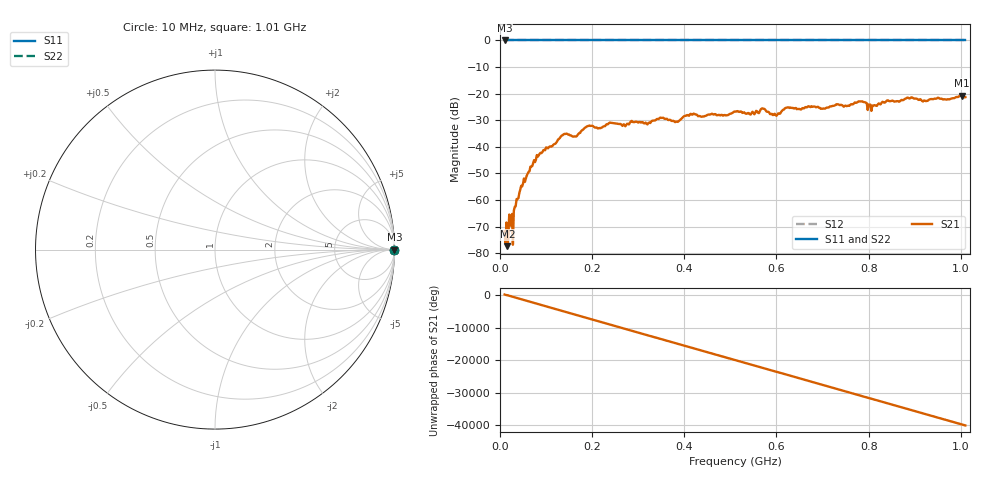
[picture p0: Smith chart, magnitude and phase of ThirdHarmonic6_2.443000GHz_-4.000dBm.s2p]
! 8/17/2025 4:18:38 AM
! C:\ANRITSUVNA\TEMP\TEMP.S2P
! CHANNEL.1
! TR.MEASUREMENT
! RAW.DATA
! RF.CORRECTION.OFF
! AVERAGING.OFF
! IF.BANDWIDTH: 5KHZ
! SWEEPTYPE:  FREQ.SWEEP(Linear)
! Reference Plane Port Info
! PORT:  PORT1  PORT2
! DISTANCE:  0  m  0  m
! TIME:  0  s  0  s
! PHASE.OFFSET:  0  deg.  0  deg.
! LOSS:  0  dB  0  dB
! REF.LOSS:  0  dB  0  dB
! REF.FREQ:  0  Hz  0  Hz
! Power Info
! POWER:  -20  dBm  -20  dBm
! EFF.POWER:  -20  dBm  -20  dBm
! SOURCE.ATTEN:  0  dB  0  dB
! TEST.ATTEN:  0  dB  0  dB
# GHZ S RI R 50.0
! FREQ.GHZ  S11RE  S11IM  S21RE  S21IM  S12RE  S12IM  S22RE  S22IM
!; PortSelection: Port_12
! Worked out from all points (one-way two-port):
!   501 points, 10 MHz to 1.01 GHz, reference 50 ohm
!   highest |S21| = -20.70 dB at 1.002 GHz (marker M1); lowest = -77.3 dB at 16 MHz (marker M2)
!   lowest |S11| = 0.0 dB at 10 MHz (marker M3)
!   |S11| at or under -10 dB: nowhere
!   |S22| runs from 0.0 to 0.0 dB; largest |S21 - S12| = 1.1
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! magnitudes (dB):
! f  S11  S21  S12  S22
! 10 MHz  0.0  -71.8  0.0  0.0
! 16 MHz  0.0  -77.3  0.0  0.0
! 28 MHz  0.0  -76.8  0.0  0.0
! 34 MHz  0.0  -62.3  0.0  0.0
! 48 MHz  0.0  -54.9  0.0  0.0
! 84 MHz  0.0  -43.3  0.0  0.0
! 136 MHz  0.0  -35.6  0.0  0.0
! 162 MHz  0.0  -36.0  0.0  0.0
! 178 MHz  0.0  -33.8  0.0  0.0
! 344 MHz  0.0  -29.6  0.0  0.0
! 384 MHz  0.0  -30.5  0.0  0.0
! 416 MHz  0.0  -27.9  0.0  0.0
! 510 MHz  0.0  -26.7  0.0  0.0
! 570 MHz  0.0  -25.5  0.0  0.0
! 596 MHz  0.0  -27.6  0.0  0.0
! 622 MHz  0.0  -25.3  0.0  0.0
! 678 MHz  0.0  -24.9  0.0  0.0
! 782 MHz  0.0  -22.9  0.0  0.0
! 802 MHz  0.0  -24.1  0.0  0.0
! 844 MHz  0.0  -22.8  0.0  0.0
! 1.002 GHz  0.0  -20.7  0.0  0.0
! 1.01 GHz  0.0  -21.3  0.0  0.0
